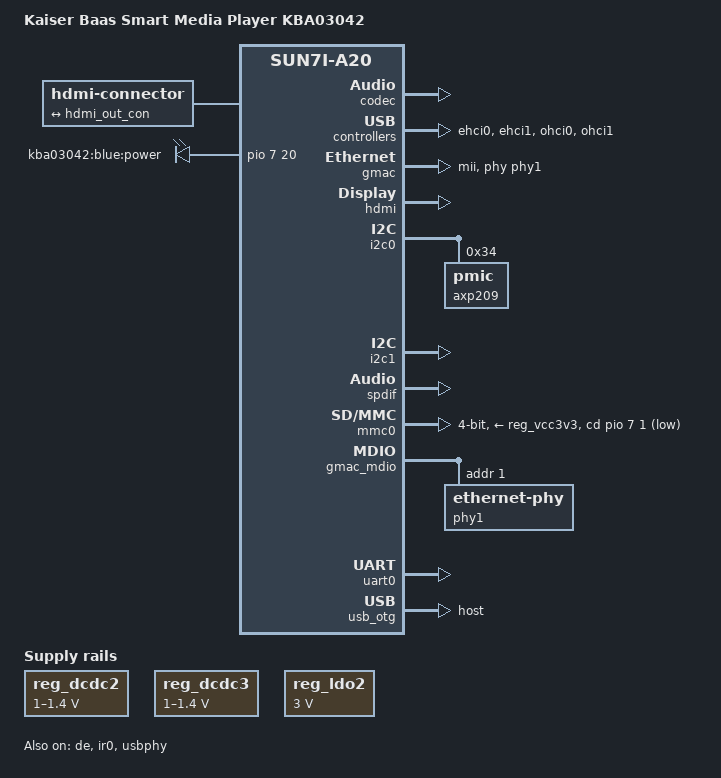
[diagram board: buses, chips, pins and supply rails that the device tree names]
/dts-v1/;

/* SPDX-FileCopyrightText: 2013 Maxime Ripard <maxime.ripard@free-electrons.com>
 * SPDX-FileCopyrightText: 2025 Jianni Minicozzi <photonican@gmail.com>
 * SPDX-License-Identifier: GPL-2.0-or-later OR X11
 * Based on sun7i-a20-cubieboard2.dts
 */

#include "sun7i-a20.dtsi"
#include "sunxi-common-regulators.dtsi"

#include <dt-bindings/gpio/gpio.h>
#include <dt-bindings/interrupt-controller/irq.h>

/ {
	model = "Kaiser Baas Smart Media Player KBA03042";
	compatible = "kaiserbaas,kaiserbaas-kba03042", "allwinner,sun7i-a20";

	aliases {
		serial0 = &uart0;
	};

	chosen {
		stdout-path = "serial0:115200n8";
	};

	hdmi-connector {
		compatible = "hdmi-connector";
		type = "a";

		port {
			hdmi_con_in: endpoint {
				remote-endpoint = <&hdmi_out_con>;
			};
		};
	};

	leds {
		compatible = "gpio-leds";

		/* standby-led {
			label  = "kba03042:red:standby";
			// gpios = ???????
		}; */

		power-led {
			label = "kba03042:blue:power";
			gpios = <&pio 7 20 GPIO_ACTIVE_HIGH>; /* PH20 */
			default-state = "on";
		};
	};
};

&codec {
	status = "okay";
};

&cpu0 {
	cpu-supply = <&reg_dcdc2>;
};

&de {
	status = "okay";
};

&ehci0 {
	status = "okay";
};

&ehci1 {
	status = "okay";
};

&gmac {
	pinctrl-names = "default";
	pinctrl-0 = <&gmac_mii_pins>;
	phy-handle = <&phy1>;
	phy-mode = "mii";
	status = "okay";
};

&hdmi {
	status = "okay";
};

&hdmi_out {
	hdmi_out_con: endpoint {
		remote-endpoint = <&hdmi_con_in>;
	};
};

&i2c0 {
	status = "okay";

axp209: pmic@34 {
		reg = <0x34>;
		interrupt-parent = <&nmi_intc>;
		interrupts = <0 IRQ_TYPE_LEVEL_LOW>;
	};
};

&i2c1 {
	status = "okay";
};

&spdif {
	pinctrl-names = "default";
	pinctrl-0 = <&spdif_tx_pin>;
	status = "okay";
};

&ir0 {
	/* No IR events detected via cat /dev/input/event1. Incorrect rx pin assignment ?*/
	pinctrl-names = "default";
	pinctrl-0 = <&ir0_rx_pin>;
	status = "okay";
};

&mmc0 {
	vmmc-supply = <&reg_vcc3v3>;
	bus-width = <4>;
	cd-gpios = <&pio 7 1 GPIO_ACTIVE_LOW>; /* PH1 */
	status = "okay";
};

&gmac_mdio {
phy1: ethernet-phy@1 {
	      reg = <1>;
      };
};

&ohci0 {
	status = "okay";
};

&ohci1 {
	status = "okay";
};

&otg_sram {
	status = "okay";
};

#include "axp209.dtsi"

&ac_power_supply {
	status = "okay";
};

&reg_dcdc2 {
	regulator-always-on;
	regulator-min-microvolt = <1000000>;
	regulator-max-microvolt = <1400000>;
	regulator-name = "vdd-cpu";
};

&reg_dcdc3 {
	regulator-always-on;
	regulator-min-microvolt = <1000000>;
	regulator-max-microvolt = <1400000>;
	regulator-name = "vdd-int-dll";
};

&reg_ldo1 {
	regulator-name = "vdd-rtc";
};

&reg_ldo2 {
	regulator-always-on;
	regulator-min-microvolt = <3000000>;
	regulator-max-microvolt = <3000000>;
	regulator-name = "avcc";
};

&uart0 {
	pinctrl-names = "default";
	pinctrl-0 = <&uart0_pb_pins>;
	status = "okay";
};

&usb_otg {
	dr_mode = "host"; /* Right hand side USB-A socket wired to OTG so set to host mode */
	status = "okay";
};

&usbphy {
	/* USB VBUS tied to DC5V. Always on. */
	status = "okay";
};
